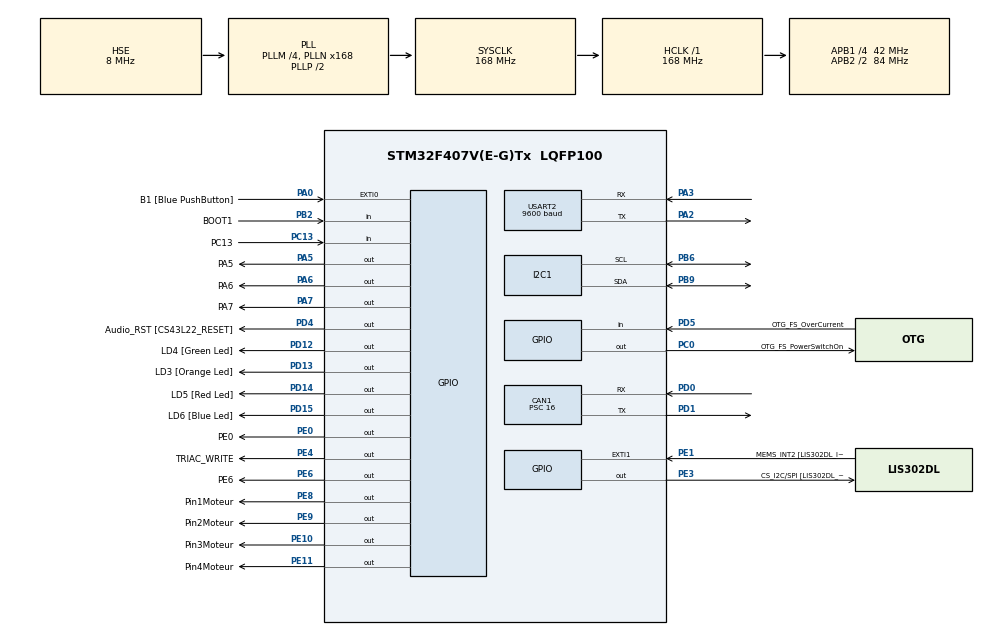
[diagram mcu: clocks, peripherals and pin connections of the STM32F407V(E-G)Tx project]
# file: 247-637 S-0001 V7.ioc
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CAN1.BS1=CAN_BS1_12TQ
CAN1.BS2=CAN_BS2_8TQ
CAN1.CalculateBaudRate=125000
CAN1.CalculateTimeBit=8000
CAN1.CalculateTimeQuantum=380.95238095238096
CAN1.Mode=CAN_MODE_NORMAL
CAN1.Prescaler=16
Mcu.Family=STM32F4
Mcu.Name=STM32F407V(E-G)Tx
Mcu.Package=LQFP100
NVIC.PriorityGroup=NVIC_PRIORITYGROUP_0
NVIC.TIM6_DAC_IRQn=true\:0\:0\:false\:false\:true\:true\:true\:true
PA0-WKUP.GPIO_Label=B1 [Blue PushButton]
PA0-WKUP.Signal=GPXTI0
PA10.GPIO_Label=OTG_FS_ID
PA10.GPIO_Mode=GPIO_MODE_AF_PP
PA10.GPIO_PuPd=GPIO_NOPULL
PA10.GPIO_Speed=GPIO_SPEED_FREQ_LOW
PA10.Signal=USB_OTG_FS_ID
PA11.GPIO_Label=OTG_FS_DM
PA11.GPIO_Mode=GPIO_MODE_AF_PP
PA11.GPIO_PuPd=GPIO_NOPULL
PA11.GPIO_Speed=GPIO_SPEED_FREQ_LOW
PA11.Signal=USB_OTG_FS_DM
PA12.GPIO_Label=OTG_FS_DP
PA12.GPIO_Mode=GPIO_MODE_AF_PP
PA12.GPIO_PuPd=GPIO_NOPULL
PA12.GPIO_Speed=GPIO_SPEED_FREQ_LOW
PA12.Signal=USB_OTG_FS_DP
PA13.GPIO_Label=SWDIO
PA13.Signal=SYS_JTMS-SWDIO
PA14.GPIO_Label=SWCLK
PA14.Signal=SYS_JTCK-SWCLK
PA2.Mode=Asynchronous
PA2.Signal=USART2_TX
PA3.Mode=Asynchronous
PA3.Signal=USART2_RX
PA4.GPIO_Label=I2S3_WS [CS43L22_LRCK]
PA4.GPIO_Mode=GPIO_MODE_AF_PP
PA4.GPIO_PuPd=GPIO_NOPULL
PA4.GPIO_Speed=GPIO_SPEED_FREQ_LOW
PA4.Signal=I2S3_WS
PA5.GPIO_Label=PA5
PA5.Signal=GPIO_Output
PA6.GPIO_Label=PA6
PA6.Signal=GPIO_Output
PA7.GPIO_Label=PA7
PA7.Signal=GPIO_Output
PA9.GPIO_Label=VBUS_FS
PA9.GPIO_Mode=GPIO_MODE_INPUT
PA9.GPIO_PuPd=GPIO_NOPULL
PA9.Signal=USB_OTG_FS_VBUS
PB10.GPIO_Label=CLK_IN [MP45DT02_CLK]
PB10.GPIO_Mode=GPIO_MODE_AF_PP
PB10.GPIO_PuPd=GPIO_NOPULL
PB10.GPIO_Speed=GPIO_SPEED_FREQ_LOW
PB10.Signal=I2S2_CK
PB2.GPIO_Label=BOOT1
PB2.GPIO_Mode=GPIO_MODE_INPUT
PB2.GPIO_PuPd=GPIO_NOPULL
PB2.Signal=GPIO_Input
PB3.GPIO_Label=SWO
PB3.Signal=SYS_JTDO-SWO
PB6.Mode=I2C
PB6.Signal=I2C1_SCL
PB9.Mode=I2C
PB9.Signal=I2C1_SDA
PC0.GPIO_Label=OTG_FS_PowerSwitchOn
PC0.GPIO_PuPd=GPIO_NOPULL
PC0.GPIO_Speed=GPIO_SPEED_FREQ_LOW
PC0.PinState=GPIO_PIN_SET
PC0.Signal=GPIO_Output
PC10.GPIO_Label=I2S3_SCK [CS43L22_SCLK]
PC10.GPIO_Mode=GPIO_MODE_AF_PP
PC10.GPIO_PuPd=GPIO_NOPULL
PC10.GPIO_Speed=GPIO_SPEED_FREQ_LOW
PC10.Signal=I2S3_CK
PC12.GPIO_Label=I2S3_SD [CS43L22_SDIN]
PC12.GPIO_Mode=GPIO_MODE_AF_PP
PC12.GPIO_PuPd=GPIO_NOPULL
PC12.GPIO_Speed=GPIO_SPEED_FREQ_LOW
PC12.Signal=I2S3_SD
PC13-ANTI_TAMP.GPIO_Label=PC13
PC13-ANTI_TAMP.Signal=GPIO_Input
PC14-OSC32_IN.GPIO_Label=PC14-OSC32_IN
PC14-OSC32_IN.Signal=RCC_OSC32_IN
PC15-OSC32_OUT.GPIO_Label=PC15-OSC32_OUT
PC15-OSC32_OUT.Signal=RCC_OSC32_OUT
PC3.GPIO_Label=PDM_OUT [MP45DT02_DOUT]
PC3.GPIO_Mode=GPIO_MODE_AF_PP
PC3.GPIO_PuPd=GPIO_NOPULL
PC3.GPIO_Speed=GPIO_SPEED_FREQ_LOW
PC3.Signal=I2S2_SD
PC7.GPIO_Label=I2S3_MCK [CS43L22_MCLK]
PC7.GPIO_Mode=GPIO_MODE_AF_PP
PC7.GPIO_PuPd=GPIO_NOPULL
PC7.GPIO_Speed=GPIO_SPEED_FREQ_LOW
PC7.Signal=I2S3_MCK
PD0.Mode=CAN_Activate
PD0.Signal=CAN1_RX
PD1.Mode=CAN_Activate
PD1.Signal=CAN1_TX
PD12.GPIO_Label=LD4 [Green Led]
PD12.GPIO_PuPd=GPIO_NOPULL
PD12.GPIO_Speed=GPIO_SPEED_FREQ_LOW
PD12.Signal=GPIO_Output
PD13.GPIO_Label=LD3 [Orange Led]
PD13.GPIO_PuPd=GPIO_NOPULL
PD13.GPIO_Speed=GPIO_SPEED_FREQ_LOW
PD13.Signal=GPIO_Output
PD14.GPIO_Label=LD5 [Red Led]
PD14.GPIO_PuPd=GPIO_NOPULL
PD14.GPIO_Speed=GPIO_SPEED_FREQ_LOW
PD14.Signal=GPIO_Output
PD15.GPIO_Label=LD6 [Blue Led]
PD15.GPIO_PuPd=GPIO_NOPULL
PD15.GPIO_Speed=GPIO_SPEED_FREQ_LOW
PD15.Signal=GPIO_Output
PD4.GPIO_Label=Audio_RST [CS43L22_RESET]
PD4.GPIO_PuPd=GPIO_NOPULL
PD4.GPIO_Speed=GPIO_SPEED_FREQ_LOW
PD4.Signal=GPIO_Output
PD5.GPIO_Label=OTG_FS_OverCurrent
PD5.GPIO_Mode=GPIO_MODE_INPUT
PD5.GPIO_PuPd=GPIO_NOPULL
PD5.Signal=GPIO_Input
PE0.GPIO_Label=PE0
PE0.Signal=GPIO_Output
PE1.GPIO_Label=MEMS_INT2 [LIS302DL_INT2]
PE1.GPIO_ModeDefaultEXTI=GPIO_MODE_EVT_RISING
PE1.GPIO_PuPd=GPIO_NOPULL
PE1.Signal=GPXTI1
PE10.GPIO_Label=Pin3Moteur
PE10.Signal=GPIO_Output
PE11.GPIO_Label=Pin4Moteur
PE11.Signal=GPIO_Output
PE3.GPIO_Label=CS_I2C/SPI [LIS302DL_CS_I2C/SPI]
PE3.GPIO_PuPd=GPIO_NOPULL
PE3.GPIO_Speed=GPIO_SPEED_FREQ_LOW
PE3.Signal=GPIO_Output
PE4.GPIO_Label=TRIAC_WRITE
PE4.Signal=GPIO_Output
PE6.GPIO_Label=PE6
PE6.Signal=GPIO_Output
PE8.GPIO_Label=Pin1Moteur
PE8.Signal=GPIO_Output
PE9.GPIO_Label=Pin2Moteur
PE9.Signal=GPIO_Output
PH0-OSC_IN.GPIO_Label=PH0-OSC_IN
PH0-OSC_IN.Mode=HSE-External-Oscillator
PH0-OSC_IN.Signal=RCC_OSC_IN
PH1-OSC_OUT.GPIO_Label=PH1-OSC_OUT
PH1-OSC_OUT.Mode=HSE-External-Oscillator
PH1-OSC_OUT.Signal=RCC_OSC_OUT
ProjectManager.HeapSize=0x200
ProjectManager.StackSize=0x400
ProjectManager.TargetToolchain=EWARM V7
RCC.48MHZClocksFreq_Value=48000000
RCC.AHBFreq_Value=168000000
RCC.APB1CLKDivider=RCC_HCLK_DIV4
RCC.APB1Freq_Value=42000000
RCC.APB1TimFreq_Value=84000000
RCC.APB2CLKDivider=RCC_HCLK_DIV2
RCC.APB2Freq_Value=84000000
RCC.APB2TimFreq_Value=168000000
RCC.CortexFreq_Value=168000000
RCC.HCLKFreq_Value=168000000
RCC.HSE_VALUE=8000000
RCC.HSI_VALUE=16000000
RCC.LSE_VALUE=32768
RCC.PLLM=4
RCC.PLLN=168
RCC.PLLQ=7
RCC.PLLSourceVirtual=RCC_PLLSOURCE_HSE
RCC.SYSCLKFreq_VALUE=168000000
RCC.SYSCLKSource=RCC_SYSCLKSOURCE_PLLCLK
RCC.VCOOutputFreq_Value=336000000
TIM6.Period=PILOTETIMER6UP_COMPTE_MAXIMAL
TIM6.TIM_MasterOutputTrigger=TIM_TRGO_ENABLE
USART2.BaudRate=9600
USART2.VirtualMode=VM_ASYNC
VP_TIM6_VS_ClockSourceINT.Mode=Enable_Timer
board=STM32F407G-DISC1

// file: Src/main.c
/* USER CODE BEGIN Header */
/**
  ******************************************************************************
  * @file           : main.c
  * @brief          : Main program body
  ******************************************************************************
  * @attention
  *
  * <h2><center>&copy; Copyright (c) 2019 STMicroelectronics.
  * All rights reserved.</center></h2>
  *
  * This software component is licensed by ST under BSD 3-Clause license,
  * the "License"; You may not use this file except in compliance with the
  * License. You may obtain a copy of the License at:
  *                        opensource.org/licenses/BSD-3-Clause
  *
  ******************************************************************************
  */
/* USER CODE END Header */
#include "main.h"

/* USER CODE BEGIN Includes */
//S-0010:
//Historique:
// 2019-10-27, Yves Roy, creation

//notes sur l'utilisation des timers.
// https://www.st.com/content/ccc/resource/technical/document/application_note/group0/91/01/84/3f/7c/67/41/3f/DM00236305/files/DM00236305.pdf/jcr:content/translations/en.DM00236305.pdf
//https://stm32f4-discovery.net/2014/05/stm32f4-stm32f429-discovery-pwm-tutorial/
//timer 6 sur APB1
//timer_tick_frequency = Timer_default_frequency / (prescaller_set + 1)
//default_frequency = 84MHz compte tenu des options choisies avec le "cube"
//TIM_Period = timer_tick_frequency / TIM_frequency - 1
//il faut s'assurer que le compte pour la periode est plus petit que 65536

#include "piloteTimer6Up.h"
#include "piloteCAN1.h"
#include "piloteUSART2.h"
#include "piloteIOMoteur.h"
#include "serviceBaseDeTemps.h"
#include "serviceProtocole637.h"
#include "interfaceS0008.h"
#include "interfaceMoteur.h"
#include "processusAscenceur.h"
#include "stdio.h"
#include "stdbool.h"
#include "I2C_Pilote.h"
#include "Convoyeur_Interface.h"
#include "Piston_Interface.h"
#include "Poussoir_Magasin_Interface.h"
#include "Elevateur_Interface.h"
#include "Pont_Interface.h"
#include "Detecteur_Magnetique.h"
#include "Detecteur_Optique_Interface.h"
#include "Detecteur_Ventouse_Interface.h"
#include "Detecteur_Capacitif_Interface.h"
#include "Detecteur_Piston_Interface.h"
#include "Detecteur_Elevateur_Interface.h"
#include "Detecteur_Poussoir_Magasin_Interface.h"
#include "Detecteur_Optique_Chute_Interface.h"
#include "Bouton_Depart_Interface.h"
#include "Bouton_Arret_Interface.h"
#include "ADC_Ressort_Interface.h"
#include "Carte_Lumiere_Interface.h"
#include "Lumiere_Verte_Usine.h"
#include "processusCentreDeTri.h"
#include "processusClignote.h"
#include "Bouton_Bleu_Interface.h"
#include "processusCan.h"
#include "Tout_Off_Interface.h"
#include "processusTriac.h"

/* USER CODE END Includes */

CAN_HandleTypeDef hcan1;

I2C_HandleTypeDef hi2c1;

TIM_HandleTypeDef htim6;

UART_HandleTypeDef huart2;

/* USER CODE BEGIN PV */
/* Private variables ---------------------------------------------------------*/

/* USER CODE END PV */

void SystemClock_Config(void);
static void MX_GPIO_Init(void);
static void MX_USART2_UART_Init(void);
static void MX_TIM6_Init(void);
static void MX_CAN1_Init(void);
static void MX_I2C1_Init(void);
/* USER CODE BEGIN PFP */
/* Private function prototypes -----------------------------------------------*/
void main_initialiseAvantLeHAL(void);
void main_initialiseApresLeHAL(void);
/* USER CODE END PFP */

/* USER CODE BEGIN 0 */
void main_initialiseAvantLeHAL(void)
{
  piloteTimer6Up_initialise();
  //piloteCAN1_initialise(); //irait ici en temps normal... mais il y a un bug dans le cube
  piloteUSART2_initialise();
  piloteIOMoteur_initialise();
  interfaceMoteur_initialise();
  serviceBaseDeTemps_initialise();
  serviceProtocole637_initialise();
  interfaceS0008_initialise();
  processusCan_initialise();
  processusMoteur_initialise();
  processusClignote_initialise();
  processusTriac_initialise();
}

void main_initialiseApresLeHAL(void)
{
  piloteCAN1_initialise();
  piloteTimer6Up_permetLesInterruptions();
  processusCentreDeTri_initialise(&hi2c1);
}

void neFaitRien(void)
{
}
/* USER CODE END 0 */

int main(void)
{

  /* USER CODE BEGIN 1 */
  main_initialiseAvantLeHAL();
  /* USER CODE END 1 */

  /* MCU Configuration--------------------------------------------------------*/

  /* Reset of all peripherals, Initializes the Flash interface and the Systick. */
  HAL_Init();

  /* Configure the system clock */
  SystemClock_Config();

  /* Initialize all configured peripherals */
  MX_GPIO_Init();
  MX_USART2_UART_Init();
  MX_TIM6_Init();
  MX_CAN1_Init();
  MX_I2C1_Init();
  /* USER CODE BEGIN 2 */
  main_initialiseApresLeHAL();

  /* USER CODE END 2 */

  /* Infinite loop */
  while (1)
  {

  }
}

void SystemClock_Config(void)
{
  RCC_OscInitTypeDef RCC_OscInitStruct = {0};
  RCC_ClkInitTypeDef RCC_ClkInitStruct = {0};

  /** Configure the main internal regulator output voltage
  */
  __HAL_RCC_PWR_CLK_ENABLE();
  __HAL_PWR_VOLTAGESCALING_CONFIG(PWR_REGULATOR_VOLTAGE_SCALE1);

  /** Initializes the RCC Oscillators according to the specified parameters
  * in the RCC_OscInitTypeDef structure.
  */
  RCC_OscInitStruct.OscillatorType = RCC_OSCILLATORTYPE_HSE;
  RCC_OscInitStruct.HSEState = RCC_HSE_ON;
  RCC_OscInitStruct.PLL.PLLState = RCC_PLL_ON;
  RCC_OscInitStruct.PLL.PLLSource = RCC_PLLSOURCE_HSE;
  RCC_OscInitStruct.PLL.PLLM = 4;
  RCC_OscInitStruct.PLL.PLLN = 168;
  RCC_OscInitStruct.PLL.PLLP = RCC_PLLP_DIV2;
  RCC_OscInitStruct.PLL.PLLQ = 7;
  if (HAL_RCC_OscConfig(&RCC_OscInitStruct) != HAL_OK)
  {
    Error_Handler();
  }

  /** Initializes the CPU, AHB and APB buses clocks
  */
  RCC_ClkInitStruct.ClockType = RCC_CLOCKTYPE_HCLK|RCC_CLOCKTYPE_SYSCLK
                              |RCC_CLOCKTYPE_PCLK1|RCC_CLOCKTYPE_PCLK2;
  RCC_ClkInitStruct.SYSCLKSource = RCC_SYSCLKSOURCE_PLLCLK;
  RCC_ClkInitStruct.AHBCLKDivider = RCC_SYSCLK_DIV1;
  RCC_ClkInitStruct.APB1CLKDivider = RCC_HCLK_DIV4;
  RCC_ClkInitStruct.APB2CLKDivider = RCC_HCLK_DIV2;

  if (HAL_RCC_ClockConfig(&RCC_ClkInitStruct, FLASH_LATENCY_5) != HAL_OK)
  {
    Error_Handler();
  }
}

static void MX_CAN1_Init(void)
{

  hcan1.Instance = CAN1;
  hcan1.Init.Prescaler = 16;
  hcan1.Init.Mode = CAN_MODE_NORMAL;
  hcan1.Init.SyncJumpWidth = CAN_SJW_1TQ;
  hcan1.Init.TimeSeg1 = CAN_BS1_12TQ;
  hcan1.Init.TimeSeg2 = CAN_BS2_8TQ;
  hcan1.Init.TimeTriggeredMode = DISABLE;
  hcan1.Init.AutoBusOff = DISABLE;
  hcan1.Init.AutoWakeUp = DISABLE;
  hcan1.Init.AutoRetransmission = DISABLE;
  hcan1.Init.ReceiveFifoLocked = DISABLE;
  hcan1.Init.TransmitFifoPriority = DISABLE;
  if (HAL_CAN_Init(&hcan1) != HAL_OK)
  {
    Error_Handler();
  }

}

static void MX_I2C1_Init(void)
{

  hi2c1.Instance = I2C1;
  hi2c1.Init.ClockSpeed = 100000;
  hi2c1.Init.DutyCycle = I2C_DUTYCYCLE_2;
  hi2c1.Init.OwnAddress1 = 0;
  hi2c1.Init.AddressingMode = I2C_ADDRESSINGMODE_7BIT;
  hi2c1.Init.DualAddressMode = I2C_DUALADDRESS_DISABLE;
  hi2c1.Init.OwnAddress2 = 0;
  hi2c1.Init.GeneralCallMode = I2C_GENERALCALL_DISABLE;
  hi2c1.Init.NoStretchMode = I2C_NOSTRETCH_DISABLE;
  if (HAL_I2C_Init(&hi2c1) != HAL_OK)
  {
    Error_Handler();
  }

}

static void MX_TIM6_Init(void)
{

  TIM_MasterConfigTypeDef sMasterConfig = {0};

  htim6.Instance = TIM6;
  htim6.Init.Prescaler = 0;
  htim6.Init.CounterMode = TIM_COUNTERMODE_UP;
  htim6.Init.Period = PILOTETIMER6UP_COMPTE_MAXIMAL;
  htim6.Init.AutoReloadPreload = TIM_AUTORELOAD_PRELOAD_DISABLE;
  if (HAL_TIM_Base_Init(&htim6) != HAL_OK)
  {
    Error_Handler();
  }
  sMasterConfig.MasterOutputTrigger = TIM_TRGO_ENABLE;
  sMasterConfig.MasterSlaveMode = TIM_MASTERSLAVEMODE_DISABLE;
  if (HAL_TIMEx_MasterConfigSynchronization(&htim6, &sMasterConfig) != HAL_OK)
  {
    Error_Handler();
  }

}

static void MX_USART2_UART_Init(void)
{

  huart2.Instance = USART2;
  huart2.Init.BaudRate = 9600;
  huart2.Init.WordLength = UART_WORDLENGTH_8B;
  huart2.Init.StopBits = UART_STOPBITS_1;
  huart2.Init.Parity = UART_PARITY_NONE;
  huart2.Init.Mode = UART_MODE_TX_RX;
  huart2.Init.HwFlowCtl = UART_HWCONTROL_NONE;
  huart2.Init.OverSampling = UART_OVERSAMPLING_16;
  if (HAL_UART_Init(&huart2) != HAL_OK)
  {
    Error_Handler();
  }

}

static void MX_GPIO_Init(void)
{
  GPIO_InitTypeDef GPIO_InitStruct = {0};

  /* GPIO Ports Clock Enable */
  __HAL_RCC_GPIOE_CLK_ENABLE();
  __HAL_RCC_GPIOC_CLK_ENABLE();
  __HAL_RCC_GPIOH_CLK_ENABLE();
  __HAL_RCC_GPIOA_CLK_ENABLE();
  __HAL_RCC_GPIOB_CLK_ENABLE();
  __HAL_RCC_GPIOD_CLK_ENABLE();

  /*Configure GPIO pin Output Level */
  HAL_GPIO_WritePin(GPIOE, CS_I2C_SPI_Pin|TRIAC_WRITE_Pin|PE6_Pin|Pin1Moteur_Pin
                          |Pin2Moteur_Pin|Pin3Moteur_Pin|Pin4Moteur_Pin|PE0_Pin, GPIO_PIN_RESET);

  /*Configure GPIO pin Output Level */
  HAL_GPIO_WritePin(OTG_FS_PowerSwitchOn_GPIO_Port, OTG_FS_PowerSwitchOn_Pin, GPIO_PIN_SET);

  /*Configure GPIO pin Output Level */
  HAL_GPIO_WritePin(GPIOA, PA5_Pin|PA6_Pin|PA7_Pin, GPIO_PIN_RESET);

  /*Configure GPIO pin Output Level */
  HAL_GPIO_WritePin(GPIOD, LD4_Pin|LD3_Pin|LD5_Pin|LD6_Pin
                          |Audio_RST_Pin, GPIO_PIN_RESET);

  /*Configure GPIO pins : CS_I2C_SPI_Pin TRIAC_WRITE_Pin PE6_Pin Pin1Moteur_Pin
                           Pin2Moteur_Pin Pin3Moteur_Pin Pin4Moteur_Pin PE0_Pin */
  GPIO_InitStruct.Pin = CS_I2C_SPI_Pin|TRIAC_WRITE_Pin|PE6_Pin|Pin1Moteur_Pin
                          |Pin2Moteur_Pin|Pin3Moteur_Pin|Pin4Moteur_Pin|PE0_Pin;
  GPIO_InitStruct.Mode = GPIO_MODE_OUTPUT_PP;
  GPIO_InitStruct.Pull = GPIO_NOPULL;
  GPIO_InitStruct.Speed = GPIO_SPEED_FREQ_LOW;
  HAL_GPIO_Init(GPIOE, &GPIO_InitStruct);

  /*Configure GPIO pin : PC13_Pin */
  GPIO_InitStruct.Pin = PC13_Pin;
  GPIO_InitStruct.Mode = GPIO_MODE_INPUT;
  GPIO_InitStruct.Pull = GPIO_NOPULL;
  HAL_GPIO_Init(PC13_GPIO_Port, &GPIO_InitStruct);

  /*Configure GPIO pin : OTG_FS_PowerSwitchOn_Pin */
  GPIO_InitStruct.Pin = OTG_FS_PowerSwitchOn_Pin;
  GPIO_InitStruct.Mode = GPIO_MODE_OUTPUT_PP;
  GPIO_InitStruct.Pull = GPIO_NOPULL;
  GPIO_InitStruct.Speed = GPIO_SPEED_FREQ_LOW;
  HAL_GPIO_Init(OTG_FS_PowerSwitchOn_GPIO_Port, &GPIO_InitStruct);

  /*Configure GPIO pin : PDM_OUT_Pin */
  GPIO_InitStruct.Pin = PDM_OUT_Pin;
  GPIO_InitStruct.Mode = GPIO_MODE_AF_PP;
  GPIO_InitStruct.Pull = GPIO_NOPULL;
  GPIO_InitStruct.Speed = GPIO_SPEED_FREQ_LOW;
  GPIO_InitStruct.Alternate = GPIO_AF5_SPI2;
  HAL_GPIO_Init(PDM_OUT_GPIO_Port, &GPIO_InitStruct);

  /*Configure GPIO pin : B1_Pin */
  GPIO_InitStruct.Pin = B1_Pin;
  GPIO_InitStruct.Mode = GPIO_MODE_IT_RISING;
  GPIO_InitStruct.Pull = GPIO_NOPULL;
  HAL_GPIO_Init(B1_GPIO_Port, &GPIO_InitStruct);

  /*Configure GPIO pin : I2S3_WS_Pin */
  GPIO_InitStruct.Pin = I2S3_WS_Pin;
  GPIO_InitStruct.Mode = GPIO_MODE_AF_PP;
  GPIO_InitStruct.Pull = GPIO_NOPULL;
  GPIO_InitStruct.Speed = GPIO_SPEED_FREQ_LOW;
  GPIO_InitStruct.Alternate = GPIO_AF6_SPI3;
  HAL_GPIO_Init(I2S3_WS_GPIO_Port, &GPIO_InitStruct);

  /*Configure GPIO pins : PA5_Pin PA6_Pin PA7_Pin */
  GPIO_InitStruct.Pin = PA5_Pin|PA6_Pin|PA7_Pin;
  GPIO_InitStruct.Mode = GPIO_MODE_OUTPUT_PP;
  GPIO_InitStruct.Pull = GPIO_NOPULL;
  GPIO_InitStruct.Speed = GPIO_SPEED_FREQ_LOW;
  HAL_GPIO_Init(GPIOA, &GPIO_InitStruct);

  /*Configure GPIO pin : BOOT1_Pin */
  GPIO_InitStruct.Pin = BOOT1_Pin;
  GPIO_InitStruct.Mode = GPIO_MODE_INPUT;
  GPIO_InitStruct.Pull = GPIO_NOPULL;
  HAL_GPIO_Init(BOOT1_GPIO_Port, &GPIO_InitStruct);

  /*Configure GPIO pin : CLK_IN_Pin */
  GPIO_InitStruct.Pin = CLK_IN_Pin;
  GPIO_InitStruct.Mode = GPIO_MODE_AF_PP;
  GPIO_InitStruct.Pull = GPIO_NOPULL;
  GPIO_InitStruct.Speed = GPIO_SPEED_FREQ_LOW;
  GPIO_InitStruct.Alternate = GPIO_AF5_SPI2;
  HAL_GPIO_Init(CLK_IN_GPIO_Port, &GPIO_InitStruct);

  /*Configure GPIO pins : LD4_Pin LD3_Pin LD5_Pin LD6_Pin
                           Audio_RST_Pin */
  GPIO_InitStruct.Pin = LD4_Pin|LD3_Pin|LD5_Pin|LD6_Pin
                          |Audio_RST_Pin;
  GPIO_InitStruct.Mode = GPIO_MODE_OUTPUT_PP;
  GPIO_InitStruct.Pull = GPIO_NOPULL;
  GPIO_InitStruct.Speed = GPIO_SPEED_FREQ_LOW;
  HAL_GPIO_Init(GPIOD, &GPIO_InitStruct);

  /*Configure GPIO pins : I2S3_MCK_Pin I2S3_SCK_Pin I2S3_SD_Pin */
  GPIO_InitStruct.Pin = I2S3_MCK_Pin|I2S3_SCK_Pin|I2S3_SD_Pin;
  GPIO_InitStruct.Mode = GPIO_MODE_AF_PP;
  GPIO_InitStruct.Pull = GPIO_NOPULL;
  GPIO_InitStruct.Speed = GPIO_SPEED_FREQ_LOW;
  GPIO_InitStruct.Alternate = GPIO_AF6_SPI3;
  HAL_GPIO_Init(GPIOC, &GPIO_InitStruct);

  /*Configure GPIO pin : VBUS_FS_Pin */
  GPIO_InitStruct.Pin = VBUS_FS_Pin;
  GPIO_InitStruct.Mode = GPIO_MODE_INPUT;
  GPIO_InitStruct.Pull = GPIO_NOPULL;
  HAL_GPIO_Init(VBUS_FS_GPIO_Port, &GPIO_InitStruct);

  /*Configure GPIO pins : OTG_FS_ID_Pin OTG_FS_DM_Pin OTG_FS_DP_Pin */
  GPIO_InitStruct.Pin = OTG_FS_ID_Pin|OTG_FS_DM_Pin|OTG_FS_DP_Pin;
  GPIO_InitStruct.Mode = GPIO_MODE_AF_PP;
  GPIO_InitStruct.Pull = GPIO_NOPULL;
  GPIO_InitStruct.Speed = GPIO_SPEED_FREQ_LOW;
  GPIO_InitStruct.Alternate = GPIO_AF10_OTG_FS;
  HAL_GPIO_Init(GPIOA, &GPIO_InitStruct);

  /*Configure GPIO pin : OTG_FS_OverCurrent_Pin */
  GPIO_InitStruct.Pin = OTG_FS_OverCurrent_Pin;
  GPIO_InitStruct.Mode = GPIO_MODE_INPUT;
  GPIO_InitStruct.Pull = GPIO_NOPULL;
  HAL_GPIO_Init(OTG_FS_OverCurrent_GPIO_Port, &GPIO_InitStruct);

  /*Configure GPIO pin : MEMS_INT2_Pin */
  GPIO_InitStruct.Pin = MEMS_INT2_Pin;
  GPIO_InitStruct.Mode = GPIO_MODE_EVT_RISING;
  GPIO_InitStruct.Pull = GPIO_NOPULL;
  HAL_GPIO_Init(MEMS_INT2_GPIO_Port, &GPIO_InitStruct);

}

void Error_Handler(void)
{
  while(1)
  {
  }
}
